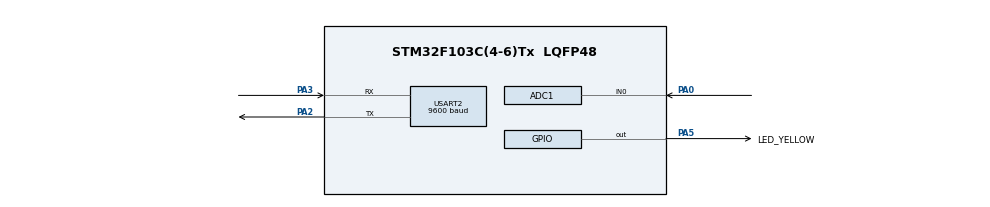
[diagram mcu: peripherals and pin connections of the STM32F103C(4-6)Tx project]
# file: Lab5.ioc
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ADC1.Channel-0\#ChannelRegularConversion=ADC_CHANNEL_0
ADC1.ContinuousConvMode=ENABLE
ADC1.NbrOfConversionFlag=1
ADC1.Rank-0\#ChannelRegularConversion=1
ADC1.SamplingTime-0\#ChannelRegularConversion=ADC_SAMPLETIME_1CYCLE_5
ADC1.master=1
Mcu.Family=STM32F1
Mcu.Name=STM32F103C(4-6)Tx
Mcu.Package=LQFP48
NVIC.PriorityGroup=NVIC_PRIORITYGROUP_4
NVIC.TIM2_IRQn=true\:0\:0\:false\:false\:true\:true\:true
NVIC.USART2_IRQn=true\:0\:0\:false\:false\:true\:true\:true
PA0-WKUP.Signal=ADCx_IN0
PA2.Mode=Asynchronous
PA2.Signal=USART2_TX
PA3.Mode=Asynchronous
PA3.Signal=USART2_RX
PA5.GPIO_Label=LED_YELLOW
PA5.Signal=GPIO_Output
ProjectManager.HeapSize=0x200
ProjectManager.StackSize=0x400
ProjectManager.TargetToolchain=STM32CubeIDE
RCC.APB1Freq_Value=8000000
RCC.APB2Freq_Value=8000000
SH.ADCx_IN0.0=ADC1_IN0,IN0
TIM2.Period=9
TIM2.Prescaler=7999
USART2.BaudRate=9600
USART2.VirtualMode=VM_ASYNC
VP_SYS_VS_ND.Mode=No_Debug
VP_TIM2_VS_ClockSourceINT.Mode=Internal
board=custom

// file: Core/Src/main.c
/* USER CODE BEGIN Header */
/**
  ******************************************************************************
  * @file           : main.c
  * @brief          : Main program body
  ******************************************************************************
  * @attention
  *
  * <h2><center>&copy; Copyright (c) 2024 STMicroelectronics.
  * All rights reserved.</center></h2>
  *
  * This software component is licensed by ST under BSD 3-Clause license,
  * the "License"; You may not use this file except in compliance with the
  * License. You may obtain a copy of the License at:
  *                        opensource.org/licenses/BSD-3-Clause
  *
  ******************************************************************************
  */
/* USER CODE END Header */
#include "main.h"

/* USER CODE BEGIN Includes */
#include "stdint.h"
#include "stdio.h"
#include "string.h"
#include "softwareTimer.h"
/* USER CODE END Includes */

ADC_HandleTypeDef hadc1;

TIM_HandleTypeDef htim2;

UART_HandleTypeDef huart2;

void SystemClock_Config(void);
static void MX_GPIO_Init(void);
static void MX_ADC1_Init(void);
static void MX_USART2_UART_Init(void);
static void MX_TIM2_Init(void);

/* USER CODE BEGIN 0 */
#define RST					0
#define OK					1

#define IDLE				0
#define SEND				1

#define MAX_BUFFER_SIZE 	30
uint8_t temp = 0;
uint8_t buffer[MAX_BUFFER_SIZE];
uint8_t index_buffer = 0;
uint8_t buffer_flag = 0;

uint8_t flag_command_parser = OK;
uint8_t flag_uart_communication = IDLE;
uint32_t command_data;
uint8_t command_flag = 0;

const uint8_t endline[] = "\r\n";
uint32_t ADC_value;
void HAL_UART_RxCpltCallback(UART_HandleTypeDef * huart){
	if(huart->Instance == USART2){
		HAL_UART_Transmit(&huart2, &temp, 1, 50);
		buffer[index_buffer++] = temp;
		if(temp == '#'){
			HAL_UART_Transmit(&huart2, endline, sizeof(endline) / sizeof(endline[0]), 50);
			buffer[index_buffer] = '\0';
			buffer_flag = 1;
		}
		if(index_buffer >= 10){
			clearBuffer();
			const uint8_t errorText[] =  "Wrong code. You should write !RST# first and then write !OK# for stop. Try again\r\n";
			HAL_UART_Transmit(&huart2, errorText, sizeof(errorText) / sizeof(errorText[0]), 1000);
		}
		if(index_buffer == 30) index_buffer = 0;
		//buffer_flag = 1;
		HAL_UART_Receive_IT(&huart2, &temp, 1);
	}
}

void clearBuffer(){
	for(int i = 0; i < MAX_BUFFER_SIZE; i++){
		buffer[i] = 0;
	}
	index_buffer = 0;
}

uint8_t idx = 0;
void command_parser_fsm(){
	switch (flag_command_parser) {
		case RST:
			if(strcmp(buffer, "!OK#") == 0){
				timer0_flag = 1;
				flag_command_parser = OK;
				clearBuffer();
				const uint8_t okText[] = "-------STOP-------\r\n";
				HAL_UART_Transmit(&huart2, okText, sizeof(okText) / sizeof(okText[0]), 1000);
				command_flag = 0;
			}
			else if(strcmp(buffer, "!RST#") == 0){
				clearBuffer();
				break;
			}
			else{
				timer0_flag = 1;
				clearBuffer();
				const uint8_t errorText[] =  "Wrong code. You should write !RST# first and then write !OK# for stop. Try again\r\n";
				HAL_UART_Transmit(&huart2, errorText, sizeof(errorText) / sizeof(errorText[0]), 1000);
				command_flag = 0;
				flag_command_parser = OK;
			}

			break;
		case OK:
			if(strcmp(buffer, "!RST#") == 0){
				command_data = HAL_ADC_GetValue(&hadc1);
				command_flag = 1;
				clearBuffer();
				flag_command_parser = RST;
			}
			else if(strcmp(buffer, "!OK#") == 0){
				clearBuffer();
				break;
			}
			else{
				timer0_flag = 1;
				clearBuffer();
				const uint8_t errorText[] =  "Wrong code. You should write !RST# first and then write!OK# for stop. Try again\r\n";
				HAL_UART_Transmit(&huart2, errorText, sizeof(errorText) / sizeof(errorText[0]), 1000);
				command_flag = 0;
				flag_command_parser = OK;
			}
			break;
		default:
			break;
	}
}

void uart_communication_fsm(){
	switch (flag_uart_communication) {
		case IDLE:
			if(command_flag == 1){
				timer0_flag = 1;
				flag_uart_communication = SEND;
			}
			break;
		case SEND:
			if(command_flag == 0){
				flag_uart_communication = IDLE;
				break;
			}
			if(timer0_flag == 1){
				uint8_t str[20];
				sprintf(str, "!ADC=%lu#\r\n", command_data);
				HAL_UART_Transmit(&huart2, str, sizeof(str) / sizeof(str[0]), 1000);
				setTimer0(3000);
			}
			break;
		default:
			break;
	}
}

/* USER CODE END 0 */

int main(void)
{

  /* MCU Configuration--------------------------------------------------------*/

  /* Reset of all peripherals, Initializes the Flash interface and the Systick. */
  HAL_Init();

  /* Configure the system clock */
  SystemClock_Config();

  /* Initialize all configured peripherals */
  MX_GPIO_Init();
  MX_ADC1_Init();
  MX_USART2_UART_Init();
  MX_TIM2_Init();
  /* USER CODE BEGIN 2 */
  HAL_TIM_Base_Start_IT (& htim2 ) ;
  /* USER CODE END 2 */

  /* Infinite loop */
  /* USER CODE BEGIN WHILE */

  HAL_UART_Receive_IT(&huart2, &temp, 1);
  HAL_ADC_Start(&hadc1);
  timer0_flag = 1;
  while (1)
  {
	  if(buffer_flag == 1){
		  command_parser_fsm();
		  buffer_flag = 0;
	  }
	  uart_communication_fsm();
    /* USER CODE END WHILE */

  }
}

void SystemClock_Config(void)
{
  RCC_OscInitTypeDef RCC_OscInitStruct = {0};
  RCC_ClkInitTypeDef RCC_ClkInitStruct = {0};
  RCC_PeriphCLKInitTypeDef PeriphClkInit = {0};

  /** Initializes the RCC Oscillators according to the specified parameters
  * in the RCC_OscInitTypeDef structure.
  */
  RCC_OscInitStruct.OscillatorType = RCC_OSCILLATORTYPE_HSI;
  RCC_OscInitStruct.HSIState = RCC_HSI_ON;
  RCC_OscInitStruct.HSICalibrationValue = RCC_HSICALIBRATION_DEFAULT;
  RCC_OscInitStruct.PLL.PLLState = RCC_PLL_NONE;
  if (HAL_RCC_OscConfig(&RCC_OscInitStruct) != HAL_OK)
  {
    Error_Handler();
  }
  /** Initializes the CPU, AHB and APB buses clocks
  */
  RCC_ClkInitStruct.ClockType = RCC_CLOCKTYPE_HCLK|RCC_CLOCKTYPE_SYSCLK
                              |RCC_CLOCKTYPE_PCLK1|RCC_CLOCKTYPE_PCLK2;
  RCC_ClkInitStruct.SYSCLKSource = RCC_SYSCLKSOURCE_HSI;
  RCC_ClkInitStruct.AHBCLKDivider = RCC_SYSCLK_DIV1;
  RCC_ClkInitStruct.APB1CLKDivider = RCC_HCLK_DIV1;
  RCC_ClkInitStruct.APB2CLKDivider = RCC_HCLK_DIV1;

  if (HAL_RCC_ClockConfig(&RCC_ClkInitStruct, FLASH_LATENCY_0) != HAL_OK)
  {
    Error_Handler();
  }
  PeriphClkInit.PeriphClockSelection = RCC_PERIPHCLK_ADC;
  PeriphClkInit.AdcClockSelection = RCC_ADCPCLK2_DIV2;
  if (HAL_RCCEx_PeriphCLKConfig(&PeriphClkInit) != HAL_OK)
  {
    Error_Handler();
  }
}

static void MX_ADC1_Init(void)
{

  ADC_ChannelConfTypeDef sConfig = {0};

  /** Common config
  */
  hadc1.Instance = ADC1;
  hadc1.Init.ScanConvMode = ADC_SCAN_DISABLE;
  hadc1.Init.ContinuousConvMode = ENABLE;
  hadc1.Init.DiscontinuousConvMode = DISABLE;
  hadc1.Init.ExternalTrigConv = ADC_SOFTWARE_START;
  hadc1.Init.DataAlign = ADC_DATAALIGN_RIGHT;
  hadc1.Init.NbrOfConversion = 1;
  if (HAL_ADC_Init(&hadc1) != HAL_OK)
  {
    Error_Handler();
  }
  /** Configure Regular Channel
  */
  sConfig.Channel = ADC_CHANNEL_0;
  sConfig.Rank = ADC_REGULAR_RANK_1;
  sConfig.SamplingTime = ADC_SAMPLETIME_1CYCLE_5;
  if (HAL_ADC_ConfigChannel(&hadc1, &sConfig) != HAL_OK)
  {
    Error_Handler();
  }

}

static void MX_TIM2_Init(void)
{

  TIM_ClockConfigTypeDef sClockSourceConfig = {0};
  TIM_MasterConfigTypeDef sMasterConfig = {0};

  htim2.Instance = TIM2;
  htim2.Init.Prescaler = 7999;
  htim2.Init.CounterMode = TIM_COUNTERMODE_UP;
  htim2.Init.Period = 9;
  htim2.Init.ClockDivision = TIM_CLOCKDIVISION_DIV1;
  htim2.Init.AutoReloadPreload = TIM_AUTORELOAD_PRELOAD_DISABLE;
  if (HAL_TIM_Base_Init(&htim2) != HAL_OK)
  {
    Error_Handler();
  }
  sClockSourceConfig.ClockSource = TIM_CLOCKSOURCE_INTERNAL;
  if (HAL_TIM_ConfigClockSource(&htim2, &sClockSourceConfig) != HAL_OK)
  {
    Error_Handler();
  }
  sMasterConfig.MasterOutputTrigger = TIM_TRGO_RESET;
  sMasterConfig.MasterSlaveMode = TIM_MASTERSLAVEMODE_DISABLE;
  if (HAL_TIMEx_MasterConfigSynchronization(&htim2, &sMasterConfig) != HAL_OK)
  {
    Error_Handler();
  }

}

static void MX_USART2_UART_Init(void)
{

  huart2.Instance = USART2;
  huart2.Init.BaudRate = 9600;
  huart2.Init.WordLength = UART_WORDLENGTH_8B;
  huart2.Init.StopBits = UART_STOPBITS_1;
  huart2.Init.Parity = UART_PARITY_NONE;
  huart2.Init.Mode = UART_MODE_TX_RX;
  huart2.Init.HwFlowCtl = UART_HWCONTROL_NONE;
  huart2.Init.OverSampling = UART_OVERSAMPLING_16;
  if (HAL_UART_Init(&huart2) != HAL_OK)
  {
    Error_Handler();
  }

}

static void MX_GPIO_Init(void)
{
  GPIO_InitTypeDef GPIO_InitStruct = {0};

  /* GPIO Ports Clock Enable */
  __HAL_RCC_GPIOA_CLK_ENABLE();

  /*Configure GPIO pin Output Level */
  HAL_GPIO_WritePin(LED_YELLOW_GPIO_Port, LED_YELLOW_Pin, GPIO_PIN_RESET);

  /*Configure GPIO pin : LED_YELLOW_Pin */
  GPIO_InitStruct.Pin = LED_YELLOW_Pin;
  GPIO_InitStruct.Mode = GPIO_MODE_OUTPUT_PP;
  GPIO_InitStruct.Pull = GPIO_NOPULL;
  GPIO_InitStruct.Speed = GPIO_SPEED_FREQ_LOW;
  HAL_GPIO_Init(LED_YELLOW_GPIO_Port, &GPIO_InitStruct);

}

/* USER CODE BEGIN 4 */
void HAL_TIM_PeriodElapsedCallback ( TIM_HandleTypeDef * htim ){
	timerRun();
}
/* USER CODE END 4 */

void Error_Handler(void)
{
  __disable_irq();
  while (1)
  {
  }
}

/************************ (C) COPYRIGHT STMicroelectronics *****END OF FILE****/
